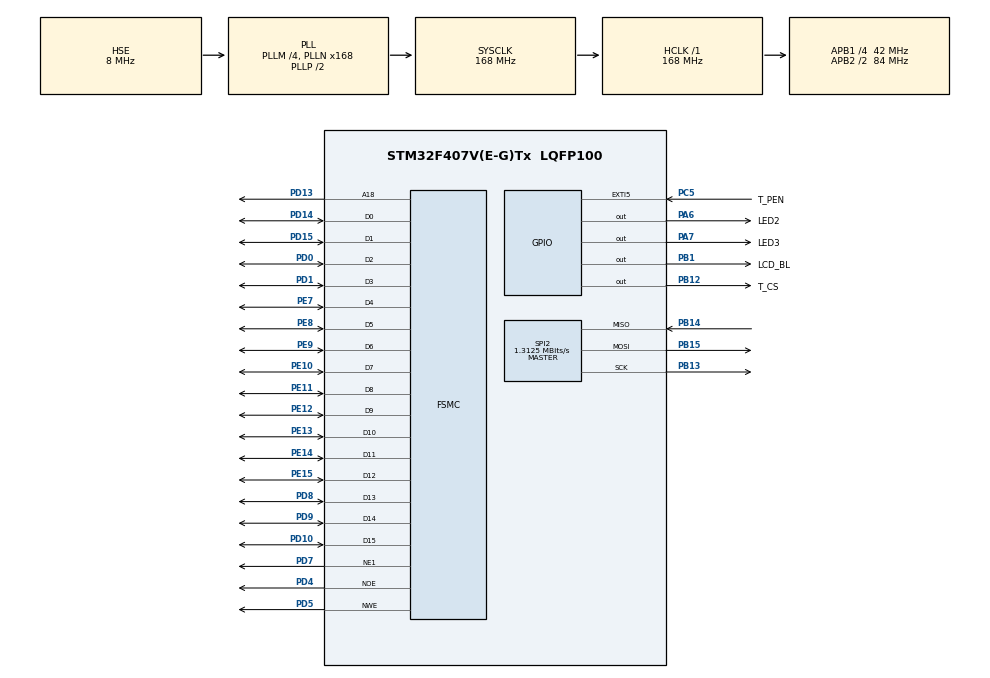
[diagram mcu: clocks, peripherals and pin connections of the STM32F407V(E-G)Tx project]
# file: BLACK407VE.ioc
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Dma.MEMTOMEM.0.Direction=DMA_MEMORY_TO_MEMORY
Dma.MEMTOMEM.0.FIFOMode=DMA_FIFOMODE_ENABLE
Dma.MEMTOMEM.0.FIFOThreshold=DMA_FIFO_THRESHOLD_FULL
Dma.MEMTOMEM.0.Instance=DMA2_Stream0
Dma.MEMTOMEM.0.MemBurst=DMA_MBURST_INC8
Dma.MEMTOMEM.0.MemDataAlignment=DMA_MDATAALIGN_HALFWORD
Dma.MEMTOMEM.0.MemInc=DMA_MINC_ENABLE
Dma.MEMTOMEM.0.Mode=DMA_NORMAL
Dma.MEMTOMEM.0.PeriphBurst=DMA_PBURST_INC8
Dma.MEMTOMEM.0.PeriphDataAlignment=DMA_PDATAALIGN_HALFWORD
Dma.MEMTOMEM.0.PeriphInc=DMA_PINC_ENABLE
Dma.MEMTOMEM.0.Priority=DMA_PRIORITY_HIGH
Dma.Request0=MEMTOMEM
FSMC.AddressSetupTime1=1
FSMC.BusTurnAroundDuration1=0
FSMC.DataSetupTime1=5
Mcu.Family=STM32F4
Mcu.Name=STM32F407V(E-G)Tx
Mcu.Package=LQFP100
NVIC.DMA2_Stream0_IRQn=true\:0\:0\:false\:false\:true\:true\:true
NVIC.EXTI9_5_IRQn=true\:0\:0\:false\:false\:true\:true\:true
NVIC.PriorityGroup=NVIC_PRIORITYGROUP_4
PA13.Mode=Serial_Wire
PA13.Signal=SYS_JTMS-SWDIO
PA14.Mode=Serial_Wire
PA14.Signal=SYS_JTCK-SWCLK
PA6.GPIO_Label=LED2
PA6.Signal=GPIO_Output
PA7.GPIO_Label=LED3
PA7.Signal=GPIO_Output
PB1.GPIO_Label=LCD_BL
PB1.Signal=GPIO_Output
PB12.GPIO_Label=T_CS
PB12.GPIO_ModeDefaultOutputPP=GPIO_MODE_OUTPUT_PP
PB12.GPIO_PuPd=GPIO_NOPULL
PB12.GPIO_Speed=GPIO_SPEED_FREQ_HIGH
PB12.PinState=GPIO_PIN_SET
PB12.Signal=GPIO_Output
PB13.Mode=Full_Duplex_Master
PB13.Signal=SPI2_SCK
PB14.Mode=Full_Duplex_Master
PB14.Signal=SPI2_MISO
PB15.Mode=Full_Duplex_Master
PB15.Signal=SPI2_MOSI
PC14-OSC32_IN.Mode=LSE-External-Oscillator
PC14-OSC32_IN.Signal=RCC_OSC32_IN
PC15-OSC32_OUT.Mode=LSE-External-Oscillator
PC15-OSC32_OUT.Signal=RCC_OSC32_OUT
PC5.GPIO_Label=T_PEN
PC5.GPIO_ModeDefaultEXTI=GPIO_MODE_IT_FALLING
PC5.GPIO_PuPd=GPIO_PULLUP
PC5.Signal=GPXTI5
PD0.Mode=16b-d1
PD0.Signal=FSMC_D2
PD1.Mode=16b-d1
PD1.Signal=FSMC_D3
PD10.Mode=16b-d1
PD10.Signal=FSMC_D15
PD13.Mode=A18_1
PD13.Signal=FSMC_A18
PD14.Mode=16b-d1
PD14.Signal=FSMC_D0
PD15.Mode=16b-d1
PD15.Signal=FSMC_D1
PD4.Mode=Lcd1
PD4.Signal=FSMC_NOE
PD5.Mode=Lcd1
PD5.Signal=FSMC_NWE
PD7.Mode=NorPsramChipSelect1_1
PD7.Signal=FSMC_NE1
PD8.Mode=16b-d1
PD8.Signal=FSMC_D13
PD9.Mode=16b-d1
PD9.Signal=FSMC_D14
PE10.Mode=16b-d1
PE10.Signal=FSMC_D7
PE11.Mode=16b-d1
PE11.Signal=FSMC_D8
PE12.Mode=16b-d1
PE12.Signal=FSMC_D9
PE13.Mode=16b-d1
PE13.Signal=FSMC_D10
PE14.Mode=16b-d1
PE14.Signal=FSMC_D11
PE15.Mode=16b-d1
PE15.Signal=FSMC_D12
PE7.Mode=16b-d1
PE7.Signal=FSMC_D4
PE8.Mode=16b-d1
PE8.Signal=FSMC_D5
PE9.Mode=16b-d1
PE9.Signal=FSMC_D6
PH0-OSC_IN.Mode=HSE-External-Oscillator
PH0-OSC_IN.Signal=RCC_OSC_IN
PH1-OSC_OUT.Mode=HSE-External-Oscillator
PH1-OSC_OUT.Signal=RCC_OSC_OUT
ProjectManager.HeapSize=0x200
ProjectManager.StackSize=0x400
ProjectManager.TargetToolchain=STM32CubeIDE
RCC.48MHZClocksFreq_Value=48000000
RCC.AHBFreq_Value=168000000
RCC.APB1CLKDivider=RCC_HCLK_DIV4
RCC.APB1Freq_Value=42000000
RCC.APB1TimFreq_Value=84000000
RCC.APB2CLKDivider=RCC_HCLK_DIV2
RCC.APB2Freq_Value=84000000
RCC.APB2TimFreq_Value=168000000
RCC.CortexFreq_Value=168000000
RCC.HCLKFreq_Value=168000000
RCC.HSE_VALUE=8000000
RCC.HSICalibrationValue=8
RCC.HSI_VALUE=16000000
RCC.PLLM=4
RCC.PLLN=168
RCC.PLLQ=7
RCC.PLLSourceVirtual=RCC_PLLSOURCE_HSE
RCC.RCC_RTC_Clock_Source=RCC_RTCCLKSOURCE_LSE
RCC.RCC_RTC_Clock_SourceVirtual=RCC_RTCCLKSOURCE_LSE
RCC.SYSCLKFreq_VALUE=168000000
RCC.SYSCLKSource=RCC_SYSCLKSOURCE_PLLCLK
RCC.VCOOutputFreq_Value=336000000
RTC.Hours=16
RTC.Minutes=20
RTC.StoreOperation=RTC_STOREOPERATION_SET
SPI2.BaudRatePrescaler=SPI_BAUDRATEPRESCALER_32
SPI2.CalculateBaudRate=1.3125 MBits/s
SPI2.Direction=SPI_DIRECTION_2LINES
SPI2.Mode=SPI_MODE_MASTER
SPI2.VirtualType=VM_MASTER
VP_RTC_VS_RTC_Activate.Mode=RTC_Enabled
VP_RTC_VS_RTC_Calendar.Mode=RTC_Calendar
board=custom

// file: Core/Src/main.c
/* USER CODE BEGIN Header */
/**
  ******************************************************************************
  * @file           : main.c
  * @brief          : Main program body
  ******************************************************************************
  * @attention
  *
  * <h2><center>&copy; Copyright (c) 2020 STMicroelectronics.
  * All rights reserved.</center></h2>
  *
  * This software component is licensed by ST under BSD 3-Clause license,
  * the "License"; You may not use this file except in compliance with the
  * License. You may obtain a copy of the License at:
  *                        opensource.org/licenses/BSD-3-Clause
  *
  ******************************************************************************
  */
/* USER CODE END Header */
#include "main.h"

/* USER CODE BEGIN Includes */
#include "XPT2046_touch.h"
#include "ili9341.h"
#include "JKLCDLog.h"
#include <stdio.h>
#include <string.h>
#include "lvgl/lvgl.h"
#include "lvgl_GUI.h"
#include "lvgl_init_f407.h"

/* USER CODE END Includes */

RTC_HandleTypeDef hrtc;

SPI_HandleTypeDef hspi2;

DMA_HandleTypeDef hdma_memtomem_dma2_stream0;
SRAM_HandleTypeDef hsram1;

/* USER CODE BEGIN PV */
RTC_TimeTypeDef rtcTime;
RTC_DateTypeDef rtcDate;
//extern uint16_t tp_pressed;

/* USER CODE END PV */

void SystemClock_Config(void);
static void MX_GPIO_Init(void);
static void MX_DMA_Init(void);
static void MX_FSMC_Init(void);
static void MX_SPI2_Init(void);
static void MX_RTC_Init(void);

/* USER CODE BEGIN 0 */

//uint16_t x = 0, y = 0;

uint32_t timeCnt = 0;

char str1[20];
char str2[20];
char str3[20];
char str4[20];
char str[20];
bool flag1;
uint16_t strw;
/* USER CODE END 0 */

int main(void)
{

  /* MCU Configuration--------------------------------------------------------*/

  /* Reset of all peripherals, Initializes the Flash interface and the Systick. */
  HAL_Init();

  /* Configure the system clock */
  SystemClock_Config();

  /* Initialize all configured peripherals */
  MX_GPIO_Init();
  MX_DMA_Init();
  MX_FSMC_Init();
  MX_SPI2_Init();
  MX_RTC_Init();
  /* USER CODE BEGIN 2 */

  lcdBacklightOn();
#define USE_LVGL

#ifndef USE_LVGL

	lcdInit();
	lcdSetOrientation(LCD_ORIENTATION_PORTRAIT_MIRROR);
	lcdFillRGB(COLOR_BLACK);

	lcdSetTextFont(&Font16);
	lcdSetTextColor(COLOR_CYAN, COLOR_BLACK);
	LCD_DrawSpectrum(0, 0,  240, 10, 255);
	LCD_DrawSpectrum(0, 10, 240, 10, 192);
	LCD_DrawSpectrum(0, 20, 240, 10, 128);
	LCD_DrawSpectrum(0, 30, 240, 10, 64);
	LCD_DrawSpectrum(0, 40,240, 10, 32);
	lcdSetCursor(10, 100);   // xy
	lcdPrintf("www.klokocka.info");
	lcdTearingOn(true);
	lcdSetTextFont(&Font12);
	JKLCDLog_Init( ILI9341_PIXEL_WIDTH/2  , ILI9341_PIXEL_HEIGHT/2 + 0, ILI9341_PIXEL_WIDTH/2-1 , ILI9341_PIXEL_HEIGHT/2-1, COLOR_BLACK, COLOR_GREEN);
	lcdSetCursor(0, 0);   // xy
	HAL_Delay(1000);
#else
	  lv_init();
	  lv_lcd_init();
	  lv_touchpad_init();
	  lvgl_GUI();

#endif

  /* USER CODE END 2 */

  /* Infinite loop */
  /* USER CODE BEGIN WHILE */
	while (1)  {

		if(timeCnt % 500 == 0) {
		  //==========BEGIN 1.0 sec===========
			//lcdPrintf("www.klokocka.info %i\n", timeCnt);
			HAL_RTC_GetTime(&hrtc, &rtcTime, RTC_FORMAT_BIN);
			HAL_RTC_GetDate(&hrtc, &rtcDate, RTC_FORMAT_BIN);
			//lcdPrintf("h:%02i: m:%02i s:%02i\n", rtcTime.Hours, rtcTime.Minutes, rtcTime.Seconds);
		}

		if(timeCnt % 250 == 0) {
			//==========BEGIN 0.5 sec===========
			//JKLCDLog_LogToLCD((char*)"pokus");
		}

		if(timeCnt % 5 == 0) {
			//==========BEGIN 10msec ===========
			lv_task_handler();
		}

		//==========BEGIN 1 ms===========
		//==========END 1 ms===========
		HAL_Delay(1);
		timeCnt++;

    /* USER CODE END WHILE */

	}
}

void SystemClock_Config(void)
{
  RCC_OscInitTypeDef RCC_OscInitStruct = {0};
  RCC_ClkInitTypeDef RCC_ClkInitStruct = {0};
  RCC_PeriphCLKInitTypeDef PeriphClkInitStruct = {0};

  /** Configure the main internal regulator output voltage
  */
  __HAL_RCC_PWR_CLK_ENABLE();
  __HAL_PWR_VOLTAGESCALING_CONFIG(PWR_REGULATOR_VOLTAGE_SCALE1);
  /** Initializes the RCC Oscillators according to the specified parameters
  * in the RCC_OscInitTypeDef structure.
  */
  RCC_OscInitStruct.OscillatorType = RCC_OSCILLATORTYPE_HSE|RCC_OSCILLATORTYPE_LSE;
  RCC_OscInitStruct.HSEState = RCC_HSE_ON;
  RCC_OscInitStruct.LSEState = RCC_LSE_ON;
  RCC_OscInitStruct.PLL.PLLState = RCC_PLL_ON;
  RCC_OscInitStruct.PLL.PLLSource = RCC_PLLSOURCE_HSE;
  RCC_OscInitStruct.PLL.PLLM = 4;
  RCC_OscInitStruct.PLL.PLLN = 168;
  RCC_OscInitStruct.PLL.PLLP = RCC_PLLP_DIV2;
  RCC_OscInitStruct.PLL.PLLQ = 7;
  if (HAL_RCC_OscConfig(&RCC_OscInitStruct) != HAL_OK)
  {
    Error_Handler();
  }
  /** Initializes the CPU, AHB and APB buses clocks
  */
  RCC_ClkInitStruct.ClockType = RCC_CLOCKTYPE_HCLK|RCC_CLOCKTYPE_SYSCLK
                              |RCC_CLOCKTYPE_PCLK1|RCC_CLOCKTYPE_PCLK2;
  RCC_ClkInitStruct.SYSCLKSource = RCC_SYSCLKSOURCE_PLLCLK;
  RCC_ClkInitStruct.AHBCLKDivider = RCC_SYSCLK_DIV1;
  RCC_ClkInitStruct.APB1CLKDivider = RCC_HCLK_DIV4;
  RCC_ClkInitStruct.APB2CLKDivider = RCC_HCLK_DIV2;

  if (HAL_RCC_ClockConfig(&RCC_ClkInitStruct, FLASH_LATENCY_5) != HAL_OK)
  {
    Error_Handler();
  }
  PeriphClkInitStruct.PeriphClockSelection = RCC_PERIPHCLK_RTC;
  PeriphClkInitStruct.RTCClockSelection = RCC_RTCCLKSOURCE_LSE;
  if (HAL_RCCEx_PeriphCLKConfig(&PeriphClkInitStruct) != HAL_OK)
  {
    Error_Handler();
  }
}

static void MX_RTC_Init(void)
{

  RTC_TimeTypeDef sTime = {0};
  RTC_DateTypeDef sDate = {0};

  /** Initialize RTC Only
  */
  hrtc.Instance = RTC;
  hrtc.Init.HourFormat = RTC_HOURFORMAT_24;
  hrtc.Init.AsynchPrediv = 127;
  hrtc.Init.SynchPrediv = 255;
  hrtc.Init.OutPut = RTC_OUTPUT_DISABLE;
  hrtc.Init.OutPutPolarity = RTC_OUTPUT_POLARITY_HIGH;
  hrtc.Init.OutPutType = RTC_OUTPUT_TYPE_OPENDRAIN;
  if (HAL_RTC_Init(&hrtc) != HAL_OK)
  {
    Error_Handler();
  }

  /** Initialize RTC and set the Time and Date
  */
  sTime.Hours = 0x16;
  sTime.Minutes = 0x20;
  sTime.Seconds = 0x0;
  sTime.DayLightSaving = RTC_DAYLIGHTSAVING_NONE;
  sTime.StoreOperation = RTC_STOREOPERATION_SET;
  if (HAL_RTC_SetTime(&hrtc, &sTime, RTC_FORMAT_BCD) != HAL_OK)
  {
    Error_Handler();
  }
  sDate.WeekDay = RTC_WEEKDAY_MONDAY;
  sDate.Month = RTC_MONTH_JANUARY;
  sDate.Date = 0x1;
  sDate.Year = 0x0;

  if (HAL_RTC_SetDate(&hrtc, &sDate, RTC_FORMAT_BCD) != HAL_OK)
  {
    Error_Handler();
  }

}

static void MX_SPI2_Init(void)
{

  /* SPI2 parameter configuration*/
  hspi2.Instance = SPI2;
  hspi2.Init.Mode = SPI_MODE_MASTER;
  hspi2.Init.Direction = SPI_DIRECTION_2LINES;
  hspi2.Init.DataSize = SPI_DATASIZE_8BIT;
  hspi2.Init.CLKPolarity = SPI_POLARITY_LOW;
  hspi2.Init.CLKPhase = SPI_PHASE_1EDGE;
  hspi2.Init.NSS = SPI_NSS_SOFT;
  hspi2.Init.BaudRatePrescaler = SPI_BAUDRATEPRESCALER_32;
  hspi2.Init.FirstBit = SPI_FIRSTBIT_MSB;
  hspi2.Init.TIMode = SPI_TIMODE_DISABLE;
  hspi2.Init.CRCCalculation = SPI_CRCCALCULATION_DISABLE;
  hspi2.Init.CRCPolynomial = 10;
  if (HAL_SPI_Init(&hspi2) != HAL_OK)
  {
    Error_Handler();
  }

}

static void MX_DMA_Init(void)
{

  /* DMA controller clock enable */
  __HAL_RCC_DMA2_CLK_ENABLE();

  /* Configure DMA request hdma_memtomem_dma2_stream0 on DMA2_Stream0 */
  hdma_memtomem_dma2_stream0.Instance = DMA2_Stream0;
  hdma_memtomem_dma2_stream0.Init.Channel = DMA_CHANNEL_0;
  hdma_memtomem_dma2_stream0.Init.Direction = DMA_MEMORY_TO_MEMORY;
  hdma_memtomem_dma2_stream0.Init.PeriphInc = DMA_PINC_ENABLE;
  hdma_memtomem_dma2_stream0.Init.MemInc = DMA_MINC_ENABLE;
  hdma_memtomem_dma2_stream0.Init.PeriphDataAlignment = DMA_PDATAALIGN_HALFWORD;
  hdma_memtomem_dma2_stream0.Init.MemDataAlignment = DMA_MDATAALIGN_HALFWORD;
  hdma_memtomem_dma2_stream0.Init.Mode = DMA_NORMAL;
  hdma_memtomem_dma2_stream0.Init.Priority = DMA_PRIORITY_HIGH;
  hdma_memtomem_dma2_stream0.Init.FIFOMode = DMA_FIFOMODE_ENABLE;
  hdma_memtomem_dma2_stream0.Init.FIFOThreshold = DMA_FIFO_THRESHOLD_FULL;
  hdma_memtomem_dma2_stream0.Init.MemBurst = DMA_MBURST_INC8;
  hdma_memtomem_dma2_stream0.Init.PeriphBurst = DMA_PBURST_INC8;
  if (HAL_DMA_Init(&hdma_memtomem_dma2_stream0) != HAL_OK)
  {
    Error_Handler( );
  }

  /* DMA interrupt init */
  /* DMA2_Stream0_IRQn interrupt configuration */
  HAL_NVIC_SetPriority(DMA2_Stream0_IRQn, 0, 0);
  HAL_NVIC_EnableIRQ(DMA2_Stream0_IRQn);

}

static void MX_GPIO_Init(void)
{
  GPIO_InitTypeDef GPIO_InitStruct = {0};

  /* GPIO Ports Clock Enable */
  __HAL_RCC_GPIOC_CLK_ENABLE();
  __HAL_RCC_GPIOH_CLK_ENABLE();
  __HAL_RCC_GPIOA_CLK_ENABLE();
  __HAL_RCC_GPIOB_CLK_ENABLE();
  __HAL_RCC_GPIOE_CLK_ENABLE();
  __HAL_RCC_GPIOD_CLK_ENABLE();

  /*Configure GPIO pin Output Level */
  HAL_GPIO_WritePin(GPIOA, LED2_Pin|LED3_Pin, GPIO_PIN_RESET);

  /*Configure GPIO pin Output Level */
  HAL_GPIO_WritePin(LCD_BL_GPIO_Port, LCD_BL_Pin, GPIO_PIN_RESET);

  /*Configure GPIO pin Output Level */
  HAL_GPIO_WritePin(T_CS_GPIO_Port, T_CS_Pin, GPIO_PIN_SET);

  /*Configure GPIO pins : LED2_Pin LED3_Pin */
  GPIO_InitStruct.Pin = LED2_Pin|LED3_Pin;
  GPIO_InitStruct.Mode = GPIO_MODE_OUTPUT_PP;
  GPIO_InitStruct.Pull = GPIO_NOPULL;
  GPIO_InitStruct.Speed = GPIO_SPEED_FREQ_LOW;
  HAL_GPIO_Init(GPIOA, &GPIO_InitStruct);

  /*Configure GPIO pin : T_PEN_Pin */
  GPIO_InitStruct.Pin = T_PEN_Pin;
  GPIO_InitStruct.Mode = GPIO_MODE_IT_FALLING;
  GPIO_InitStruct.Pull = GPIO_PULLUP;
  HAL_GPIO_Init(T_PEN_GPIO_Port, &GPIO_InitStruct);

  /*Configure GPIO pin : LCD_BL_Pin */
  GPIO_InitStruct.Pin = LCD_BL_Pin;
  GPIO_InitStruct.Mode = GPIO_MODE_OUTPUT_PP;
  GPIO_InitStruct.Pull = GPIO_NOPULL;
  GPIO_InitStruct.Speed = GPIO_SPEED_FREQ_LOW;
  HAL_GPIO_Init(LCD_BL_GPIO_Port, &GPIO_InitStruct);

  /*Configure GPIO pin : T_CS_Pin */
  GPIO_InitStruct.Pin = T_CS_Pin;
  GPIO_InitStruct.Mode = GPIO_MODE_OUTPUT_PP;
  GPIO_InitStruct.Pull = GPIO_NOPULL;
  GPIO_InitStruct.Speed = GPIO_SPEED_FREQ_HIGH;
  HAL_GPIO_Init(T_CS_GPIO_Port, &GPIO_InitStruct);

  /* EXTI interrupt init*/
  HAL_NVIC_SetPriority(EXTI9_5_IRQn, 0, 0);
  HAL_NVIC_EnableIRQ(EXTI9_5_IRQn);

}

/* FSMC initialization function */
static void MX_FSMC_Init(void)
{

  FSMC_NORSRAM_TimingTypeDef Timing = {0};

  /** Perform the SRAM1 memory initialization sequence
  */
  hsram1.Instance = FSMC_NORSRAM_DEVICE;
  hsram1.Extended = FSMC_NORSRAM_EXTENDED_DEVICE;
  /* hsram1.Init */
  hsram1.Init.NSBank = FSMC_NORSRAM_BANK1;
  hsram1.Init.DataAddressMux = FSMC_DATA_ADDRESS_MUX_DISABLE;
  hsram1.Init.MemoryType = FSMC_MEMORY_TYPE_SRAM;
  hsram1.Init.MemoryDataWidth = FSMC_NORSRAM_MEM_BUS_WIDTH_16;
  hsram1.Init.BurstAccessMode = FSMC_BURST_ACCESS_MODE_DISABLE;
  hsram1.Init.WaitSignalPolarity = FSMC_WAIT_SIGNAL_POLARITY_LOW;
  hsram1.Init.WrapMode = FSMC_WRAP_MODE_DISABLE;
  hsram1.Init.WaitSignalActive = FSMC_WAIT_TIMING_BEFORE_WS;
  hsram1.Init.WriteOperation = FSMC_WRITE_OPERATION_ENABLE;
  hsram1.Init.WaitSignal = FSMC_WAIT_SIGNAL_DISABLE;
  hsram1.Init.ExtendedMode = FSMC_EXTENDED_MODE_DISABLE;
  hsram1.Init.AsynchronousWait = FSMC_ASYNCHRONOUS_WAIT_DISABLE;
  hsram1.Init.WriteBurst = FSMC_WRITE_BURST_DISABLE;
  hsram1.Init.PageSize = FSMC_PAGE_SIZE_NONE;
  /* Timing */
  Timing.AddressSetupTime = 1;
  Timing.AddressHoldTime = 15;
  Timing.DataSetupTime = 5;
  Timing.BusTurnAroundDuration = 0;
  Timing.CLKDivision = 16;
  Timing.DataLatency = 17;
  Timing.AccessMode = FSMC_ACCESS_MODE_A;
  /* ExtTiming */

  if (HAL_SRAM_Init(&hsram1, &Timing, NULL) != HAL_OK)
  {
    Error_Handler( );
  }

}

/* USER CODE BEGIN 4 */
void  HAL_GPIO_EXTI_Callback ( uint16_t GPIO_Pin)
{

	/*
	if (GPIO_Pin ==T_PEN_Pin){
		tp_pressed = 1;
		if(XPT2046_TouchPressed()){
			if(XPT2046_TouchGetCoordinates(&x, &y))	{
				flag1=1;

				lcdSetCursor(20,20);
				lcdPrintf("x:%03i: y:%02i", y, 320-x);
				lcdDrawPixel(y, 320-x, COLOR_RED);

			}
		}

	}
	*/
}

void LCD_DrawSpectrum(uint16_t x, uint16_t y, uint16_t width, uint16_t height, uint8_t brightness) {

    float c = 0.0f;
    uint16_t red, green, blue = 0;
    float fIncrement = 1.0 / width;
    uint16_t sixTimes = brightness * 6; //1530=255*6

	for(uint16_t i = x; i <= (x + width); i++) {

		if(c >= 0 && c <= (1/6.f)){
			red = brightness;
			green = sixTimes * c;
			blue = 0;
		} else if( c > (1/6.f) && c <= (1/3.f) ){
			red = brightness - (sixTimes * (c - 1/6.f));
			green = brightness;
			blue = 0;
		} else if( c > (1/3.f) && c <= (1/2.f)){
			red = 0;
			green = brightness;
			blue = sixTimes * (c - 1/3.f);
		} else if(c > (1/2.f) && c <= (2/3.f)) {
			red = 0;
			green = brightness - ((c - 0.5f) * sixTimes);
			blue = brightness;
		} else if( c > (2/3.f) && c <= (5/6.f) ){
			red = (c - (2/3.f)) * sixTimes;
			green = 0;
			blue = brightness;
		} else if(c > (5/6.f) && c <= 1 ){
			red = brightness;
			green = 0;
			blue = brightness - ((c - (5/6.f)) * sixTimes);
		}

		lcdDrawVLine( i, y, y+height, lcdColor565(red, green, blue));
		//HAL_Delay(1);

	  c += fIncrement;
  }

  c=0.0;

}

/* USER CODE END 4 */

void Error_Handler(void)
{
}

/************************ (C) COPYRIGHT STMicroelectronics *****END OF FILE****/
